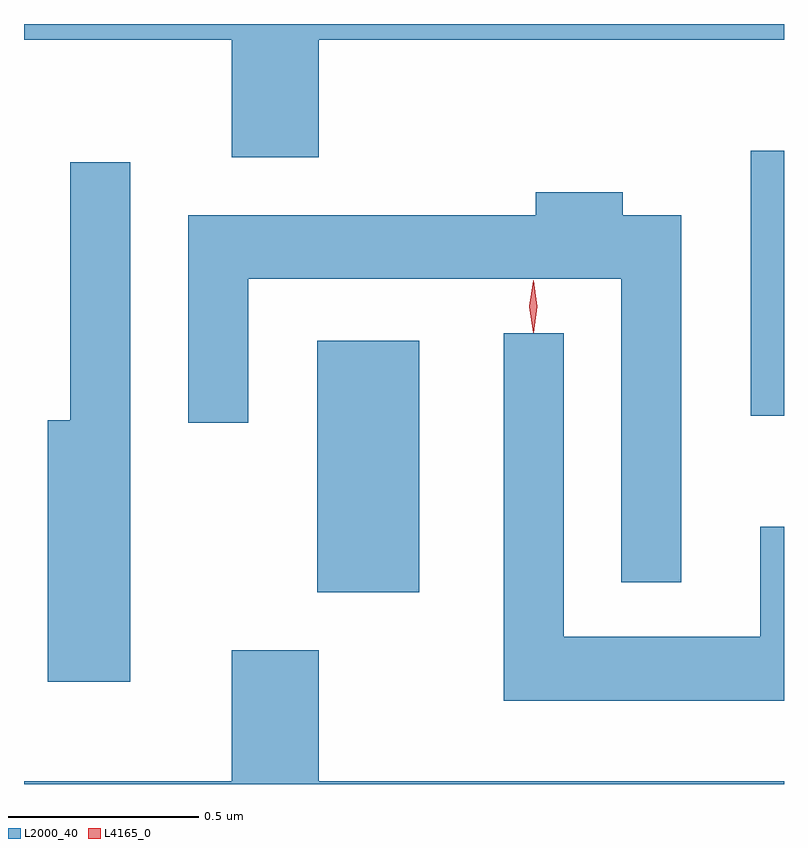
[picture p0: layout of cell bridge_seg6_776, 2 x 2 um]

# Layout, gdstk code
import gdstk
lib = gdstk.Library(unit=1e-6, precision=1e-09)
def R(c, l, rs):  # rectangles x0, y0, x1, y1
    for r in rs: c.add(gdstk.rectangle(r[:2], r[2:], *l))
def P(c, l, *ps):  # polygons
    for p in ps: c.add(gdstk.Polygon(p, *l))
L2000_40 = (2000, 40)
L4165_0 = (4165, 0)

bridge_seg6_776 = lib.new_cell('bridge_seg6_776')
R(bridge_seg6_776, L2000_40, [(487.216,1546.361,487.484,1547.024), (488.356,1546.826,488.444,1547.524)])
P(bridge_seg6_776, L2000_40, [(487.219,1547.816),(488.444,1547.816),(488.444,1547.857),(486.444,1547.857),(486.444,1547.816),(486.991,1547.816),(486.991,1547.506),(487.219,1547.506)],
  [(486.724,1547.493),(486.566,1547.493),(486.566,1546.814),(486.506,1546.814),(486.506,1546.126),(486.724,1546.126)],
  [(488.174,1547.354),(488.019,1547.354),(488.019,1547.414),(487.791,1547.414),(487.791,1547.354),(486.876,1547.354),(486.876,1546.808),(487.034,1546.808),(487.034,1547.186),(488.016,1547.186),(488.016,1546.388),(488.174,1546.388)],
  [(488.444,1546.534),(488.381,1546.534),(488.381,1546.244),(487.864,1546.244),(487.864,1547.043),(487.706,1547.043),(487.706,1546.076),(488.444,1546.076)],
  [(488.444,1545.864),(487.219,1545.864),(487.219,1546.209),(486.991,1546.209),(486.991,1545.864),(486.444,1545.864),(486.444,1545.857),(488.444,1545.857)])
P(bridge_seg6_776, L4165_0, [(487.784,1547.044),(487.784,1547.044),(487.774,1547.113),(487.784,1547.182),(487.784,1547.183),(487.785,1547.182),(487.794,1547.113),(487.785,1547.044)],
  [(487.784,1547.047),(487.784,1547.048),(487.774,1547.114),(487.784,1547.18),(487.784,1547.18),(487.785,1547.18),(487.794,1547.114),(487.785,1547.048)])

lib.write_gds('bridge_seg6_776.gds')
